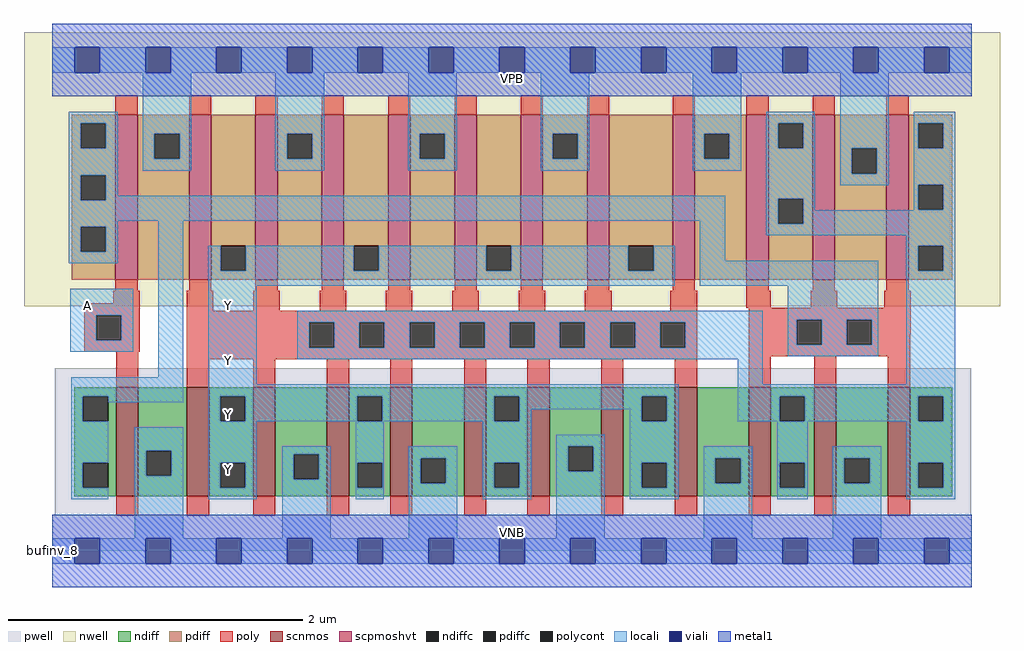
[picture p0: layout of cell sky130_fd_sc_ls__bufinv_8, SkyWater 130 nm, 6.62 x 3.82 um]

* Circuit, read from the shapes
.subckt sky130_fd_sc_ls__bufinv_8 A VGND VNB VPB VPWR Y
XM1 VGND A n1 VNB sky130_fd_pr__nfet_01v8 w=0.74 l=0.15
XM2 Y n2 VGND VNB sky130_fd_pr__nfet_01v8 w=0.74 l=0.15 m=8
XM3 n2 n1 VGND VNB sky130_fd_pr__nfet_01v8 w=0.74 l=0.15 m=3
XM4 VPWR A n1 VPB sky130_fd_pr__pfet_01v8_hvt w=1.12 l=0.15
XM5 Y n2 VPWR VPB sky130_fd_pr__pfet_01v8_hvt w=1.12 l=0.15 m=8
XM6 n2 n1 VPWR VPB sky130_fd_pr__pfet_01v8_hvt w=1.12 l=0.15 m=3
.ends

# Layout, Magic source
magic
tech sky130A
magscale 1 2
<< nwell >>
rect -38 332 1286 704
<< pwell >>
rect 4 49 1247 248
rect 0 0 1248 49
<< scnmos >>
rect 87 74 117 222
rect 183 74 213 222
rect 273 74 303 222
rect 373 74 403 222
rect 459 74 489 222
rect 559 74 589 222
rect 645 74 675 222
rect 745 74 775 222
rect 845 74 875 222
rect 945 74 975 222
rect 1034 74 1064 222
rect 1134 74 1164 222
<< scpmoshvt >>
rect 86 368 116 592
rect 186 368 216 592
rect 276 368 306 592
rect 366 368 396 592
rect 456 368 486 592
rect 546 368 576 592
rect 636 368 666 592
rect 726 368 756 592
rect 842 368 872 592
rect 942 368 972 592
rect 1032 368 1062 592
rect 1132 368 1162 592
<< ndiff >>
rect 30 210 87 222
rect 30 176 42 210
rect 76 176 87 210
rect 30 120 87 176
rect 30 86 42 120
rect 76 86 87 120
rect 30 74 87 86
rect 117 136 183 222
rect 117 102 128 136
rect 162 102 183 136
rect 117 74 183 102
rect 213 210 273 222
rect 213 176 228 210
rect 262 176 273 210
rect 213 120 273 176
rect 213 86 228 120
rect 262 86 273 120
rect 213 74 273 86
rect 303 131 373 222
rect 303 97 328 131
rect 362 97 373 131
rect 303 74 373 97
rect 403 210 459 222
rect 403 176 414 210
rect 448 176 459 210
rect 403 120 459 176
rect 403 86 414 120
rect 448 86 459 120
rect 403 74 459 86
rect 489 126 559 222
rect 489 92 500 126
rect 534 92 559 126
rect 489 74 559 92
rect 589 210 645 222
rect 589 176 600 210
rect 634 176 645 210
rect 589 120 645 176
rect 589 86 600 120
rect 634 86 645 120
rect 589 74 645 86
rect 675 142 745 222
rect 675 108 700 142
rect 734 108 745 142
rect 675 74 745 108
rect 775 210 845 222
rect 775 176 800 210
rect 834 176 845 210
rect 775 120 845 176
rect 775 86 800 120
rect 834 86 845 120
rect 775 74 845 86
rect 875 126 945 222
rect 875 92 900 126
rect 934 92 945 126
rect 875 74 945 92
rect 975 210 1034 222
rect 975 176 987 210
rect 1021 176 1034 210
rect 975 120 1034 176
rect 975 86 987 120
rect 1021 86 1034 120
rect 975 74 1034 86
rect 1064 126 1134 222
rect 1064 92 1075 126
rect 1109 92 1134 126
rect 1064 74 1134 92
rect 1164 210 1221 222
rect 1164 176 1175 210
rect 1209 176 1221 210
rect 1164 120 1221 176
rect 1164 86 1175 120
rect 1209 86 1221 120
rect 1164 74 1221 86
<< pdiff >>
rect 27 580 86 592
rect 27 546 39 580
rect 73 546 86 580
rect 27 510 86 546
rect 27 476 39 510
rect 73 476 86 510
rect 27 440 86 476
rect 27 406 39 440
rect 73 406 86 440
rect 27 368 86 406
rect 116 566 186 592
rect 116 532 139 566
rect 173 532 186 566
rect 116 368 186 532
rect 216 414 276 592
rect 216 380 229 414
rect 263 380 276 414
rect 216 368 276 380
rect 306 566 366 592
rect 306 532 319 566
rect 353 532 366 566
rect 306 368 366 532
rect 396 414 456 592
rect 396 380 409 414
rect 443 380 456 414
rect 396 368 456 380
rect 486 566 546 592
rect 486 532 499 566
rect 533 532 546 566
rect 486 368 546 532
rect 576 414 636 592
rect 576 380 589 414
rect 623 380 636 414
rect 576 368 636 380
rect 666 566 726 592
rect 666 532 679 566
rect 713 532 726 566
rect 666 368 726 532
rect 756 414 842 592
rect 756 380 782 414
rect 816 380 842 414
rect 756 368 842 380
rect 872 566 942 592
rect 872 532 885 566
rect 919 532 942 566
rect 872 368 942 532
rect 972 580 1032 592
rect 972 546 985 580
rect 1019 546 1032 580
rect 972 478 1032 546
rect 972 444 985 478
rect 1019 444 1032 478
rect 972 368 1032 444
rect 1062 546 1132 592
rect 1062 512 1085 546
rect 1119 512 1132 546
rect 1062 368 1132 512
rect 1162 580 1221 592
rect 1162 546 1175 580
rect 1209 546 1221 580
rect 1162 497 1221 546
rect 1162 463 1175 497
rect 1209 463 1221 497
rect 1162 414 1221 463
rect 1162 380 1175 414
rect 1209 380 1221 414
rect 1162 368 1221 380
<< ndiffc >>
rect 42 176 76 210
rect 42 86 76 120
rect 128 102 162 136
rect 228 176 262 210
rect 228 86 262 120
rect 328 97 362 131
rect 414 176 448 210
rect 414 86 448 120
rect 500 92 534 126
rect 600 176 634 210
rect 600 86 634 120
rect 700 108 734 142
rect 800 176 834 210
rect 800 86 834 120
rect 900 92 934 126
rect 987 176 1021 210
rect 987 86 1021 120
rect 1075 92 1109 126
rect 1175 176 1209 210
rect 1175 86 1209 120
<< pdiffc >>
rect 39 546 73 580
rect 39 476 73 510
rect 39 406 73 440
rect 139 532 173 566
rect 229 380 263 414
rect 319 532 353 566
rect 409 380 443 414
rect 499 532 533 566
rect 589 380 623 414
rect 679 532 713 566
rect 782 380 816 414
rect 885 532 919 566
rect 985 546 1019 580
rect 985 444 1019 478
rect 1085 512 1119 546
rect 1175 546 1209 580
rect 1175 463 1209 497
rect 1175 380 1209 414
<< poly >>
rect 86 592 116 618
rect 186 592 216 618
rect 276 592 306 618
rect 366 592 396 618
rect 456 592 486 618
rect 546 592 576 618
rect 636 592 666 618
rect 726 592 756 618
rect 842 592 872 618
rect 942 592 972 618
rect 1032 592 1062 618
rect 1132 592 1162 618
rect 86 353 116 368
rect 186 353 216 368
rect 276 353 306 368
rect 366 353 396 368
rect 456 353 486 368
rect 546 353 576 368
rect 636 353 666 368
rect 726 353 756 368
rect 842 353 872 368
rect 942 353 972 368
rect 1032 353 1062 368
rect 1132 353 1162 368
rect 83 336 119 353
rect 44 320 119 336
rect 44 286 60 320
rect 94 286 119 320
rect 44 270 119 286
rect 183 326 219 353
rect 273 326 309 353
rect 363 326 399 353
rect 453 326 489 353
rect 543 326 579 353
rect 633 326 669 353
rect 723 326 759 353
rect 839 326 875 353
rect 942 330 975 353
rect 1029 330 1065 353
rect 1129 330 1165 353
rect 183 310 875 326
rect 183 276 349 310
rect 383 276 417 310
rect 451 276 485 310
rect 519 276 553 310
rect 587 276 621 310
rect 655 276 689 310
rect 723 276 757 310
rect 791 276 825 310
rect 859 276 875 310
rect 87 222 117 270
rect 183 260 875 276
rect 183 222 213 260
rect 273 222 303 260
rect 373 222 403 260
rect 459 222 489 260
rect 559 222 589 260
rect 645 222 675 260
rect 745 222 775 260
rect 845 222 875 260
rect 945 314 1165 330
rect 945 280 1010 314
rect 1044 280 1078 314
rect 1112 294 1165 314
rect 1112 280 1164 294
rect 945 264 1164 280
rect 945 222 975 264
rect 1034 222 1064 264
rect 1134 222 1164 264
rect 87 48 117 74
rect 183 48 213 74
rect 273 48 303 74
rect 373 48 403 74
rect 459 48 489 74
rect 559 48 589 74
rect 645 48 675 74
rect 745 48 775 74
rect 845 48 875 74
rect 945 48 975 74
rect 1034 48 1064 74
rect 1134 48 1164 74
<< polycont >>
rect 60 286 94 320
rect 349 276 383 310
rect 417 276 451 310
rect 485 276 519 310
rect 553 276 587 310
rect 621 276 655 310
rect 689 276 723 310
rect 757 276 791 310
rect 825 276 859 310
rect 1010 280 1044 314
rect 1078 280 1112 314
<< locali >>
rect 0 649 31 683
rect 65 649 127 683
rect 161 649 223 683
rect 257 649 319 683
rect 353 649 415 683
rect 449 649 511 683
rect 545 649 607 683
rect 641 649 703 683
rect 737 649 799 683
rect 833 649 895 683
rect 929 649 991 683
rect 1025 649 1087 683
rect 1121 649 1183 683
rect 1217 649 1248 683
rect 23 580 89 596
rect 23 546 39 580
rect 73 546 89 580
rect 23 510 89 546
rect 123 566 189 649
rect 123 532 139 566
rect 173 532 189 566
rect 123 516 189 532
rect 303 566 369 649
rect 303 532 319 566
rect 353 532 369 566
rect 303 516 369 532
rect 483 566 549 649
rect 483 532 499 566
rect 533 532 549 566
rect 483 516 549 532
rect 663 566 729 649
rect 663 532 679 566
rect 713 532 729 566
rect 663 516 729 532
rect 869 566 935 649
rect 869 532 885 566
rect 919 532 935 566
rect 869 516 935 532
rect 969 580 1035 596
rect 969 546 985 580
rect 1019 546 1035 580
rect 23 476 39 510
rect 73 482 89 510
rect 73 476 913 482
rect 23 448 913 476
rect 23 440 89 448
rect 23 406 39 440
rect 73 406 89 440
rect 23 390 89 406
rect 25 320 110 356
rect 25 286 60 320
rect 94 286 110 320
rect 25 270 110 286
rect 144 236 178 448
rect 26 210 178 236
rect 26 176 42 210
rect 76 202 178 210
rect 212 380 229 414
rect 263 380 409 414
rect 443 380 589 414
rect 623 380 782 414
rect 816 380 845 414
rect 212 360 845 380
rect 879 394 913 448
rect 969 478 1035 546
rect 1069 546 1135 649
rect 1069 512 1085 546
rect 1119 512 1135 546
rect 1069 496 1135 512
rect 1169 580 1225 596
rect 1169 546 1175 580
rect 1209 546 1225 580
rect 1169 497 1225 546
rect 969 444 985 478
rect 1019 462 1035 478
rect 1169 463 1175 497
rect 1209 463 1225 497
rect 1169 462 1225 463
rect 1019 444 1225 462
rect 969 428 1225 444
rect 1159 414 1225 428
rect 879 360 1121 394
rect 212 226 278 360
rect 333 310 964 326
rect 333 276 349 310
rect 383 276 417 310
rect 451 276 485 310
rect 519 276 553 310
rect 587 276 621 310
rect 655 276 689 310
rect 723 276 757 310
rect 791 276 825 310
rect 859 276 964 310
rect 333 260 964 276
rect 998 314 1121 360
rect 998 280 1010 314
rect 1044 280 1078 314
rect 1112 280 1121 314
rect 998 264 1121 280
rect 1159 380 1175 414
rect 1209 380 1225 414
rect 930 226 964 260
rect 1159 226 1225 380
rect 212 210 850 226
rect 26 120 76 176
rect 212 176 228 210
rect 262 176 414 210
rect 448 176 600 210
rect 634 192 800 210
rect 634 176 650 192
rect 26 86 42 120
rect 26 70 76 86
rect 112 136 178 168
rect 112 102 128 136
rect 162 102 178 136
rect 112 17 178 102
rect 212 120 278 176
rect 212 86 228 120
rect 262 86 278 120
rect 212 70 278 86
rect 312 131 378 142
rect 312 97 328 131
rect 362 97 378 131
rect 312 17 378 97
rect 412 120 450 176
rect 412 86 414 120
rect 448 86 450 120
rect 412 70 450 86
rect 484 126 550 142
rect 484 92 500 126
rect 534 92 550 126
rect 484 17 550 92
rect 584 120 650 176
rect 784 176 800 192
rect 834 176 850 210
rect 930 210 1225 226
rect 930 176 987 210
rect 1021 176 1175 210
rect 1209 176 1225 210
rect 584 86 600 120
rect 634 86 650 120
rect 584 70 650 86
rect 684 142 750 158
rect 684 108 700 142
rect 734 108 750 142
rect 684 17 750 108
rect 784 120 850 176
rect 784 86 800 120
rect 834 86 850 120
rect 784 70 850 86
rect 884 126 950 142
rect 884 92 900 126
rect 934 92 950 126
rect 884 17 950 92
rect 984 120 1025 176
rect 984 86 987 120
rect 1021 86 1025 120
rect 984 70 1025 86
rect 1059 126 1125 142
rect 1059 92 1075 126
rect 1109 92 1125 126
rect 1059 17 1125 92
rect 1159 120 1225 176
rect 1159 86 1175 120
rect 1209 86 1225 120
rect 1159 70 1225 86
rect 0 -17 31 17
rect 65 -17 127 17
rect 161 -17 223 17
rect 257 -17 319 17
rect 353 -17 415 17
rect 449 -17 511 17
rect 545 -17 607 17
rect 641 -17 703 17
rect 737 -17 799 17
rect 833 -17 895 17
rect 929 -17 991 17
rect 1025 -17 1087 17
rect 1121 -17 1183 17
rect 1217 -17 1248 17
<< viali >>
rect 31 649 65 683
rect 127 649 161 683
rect 223 649 257 683
rect 319 649 353 683
rect 415 649 449 683
rect 511 649 545 683
rect 607 649 641 683
rect 703 649 737 683
rect 799 649 833 683
rect 895 649 929 683
rect 991 649 1025 683
rect 1087 649 1121 683
rect 1183 649 1217 683
rect 31 -17 65 17
rect 127 -17 161 17
rect 223 -17 257 17
rect 319 -17 353 17
rect 415 -17 449 17
rect 511 -17 545 17
rect 607 -17 641 17
rect 703 -17 737 17
rect 799 -17 833 17
rect 895 -17 929 17
rect 991 -17 1025 17
rect 1087 -17 1121 17
rect 1183 -17 1217 17
<< metal1 >>
rect 0 683 1248 715
rect 0 649 31 683
rect 65 649 127 683
rect 161 649 223 683
rect 257 649 319 683
rect 353 649 415 683
rect 449 649 511 683
rect 545 649 607 683
rect 641 649 703 683
rect 737 649 799 683
rect 833 649 895 683
rect 929 649 991 683
rect 1025 649 1087 683
rect 1121 649 1183 683
rect 1217 649 1248 683
rect 0 617 1248 649
rect 0 17 1248 49
rect 0 -17 31 17
rect 65 -17 127 17
rect 161 -17 223 17
rect 257 -17 319 17
rect 353 -17 415 17
rect 449 -17 511 17
rect 545 -17 607 17
rect 641 -17 703 17
rect 737 -17 799 17
rect 833 -17 895 17
rect 929 -17 991 17
rect 1025 -17 1087 17
rect 1121 -17 1183 17
rect 1217 -17 1248 17
rect 0 -49 1248 -17
<< labels >>
rlabel comment s 0 0 0 0 4 bufinv_8
flabel pwell s 0 0 1248 49 0 FreeSans 200 0 0 0 VNB
port 3 nsew ground bidirectional
flabel nwell s 0 617 1248 666 0 FreeSans 200 0 0 0 VPB
port 4 nsew power bidirectional
flabel metal1 s 0 617 1248 666 0 FreeSans 340 0 0 0 VPWR
port 5 nsew power bidirectional abutment
flabel metal1 s 0 0 1248 49 0 FreeSans 340 0 0 0 VGND
port 2 nsew ground bidirectional abutment
flabel locali s 223 94 257 128 0 FreeSans 340 0 0 0 Y
port 6 nsew signal output
flabel locali s 223 168 257 202 0 FreeSans 340 0 0 0 Y
port 6 nsew signal output
flabel locali s 223 242 257 276 0 FreeSans 340 0 0 0 Y
port 6 nsew signal output
flabel locali s 223 316 257 350 0 FreeSans 340 0 0 0 Y
port 6 nsew signal output
flabel locali s 31 316 65 350 0 FreeSans 340 0 0 0 A
port 1 nsew signal input
<< properties >>
string LEFsite unit
string LEFclass CORE
string FIXED_BBOX 0 0 1248 666
string GDS_FILE $PDKPATH/libs.ref/sky130_fd_sc_ls/gds/sky130_fd_sc_ls.gds
string LEFsymmetry X Y
string GDS_END 850504
string GDS_START 841332
<< end >>
